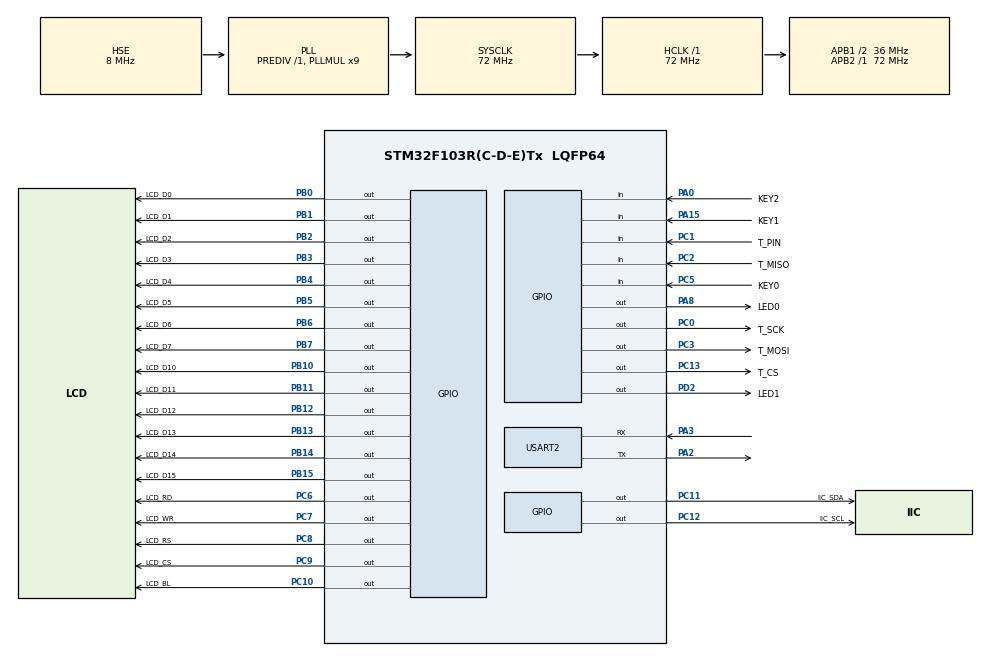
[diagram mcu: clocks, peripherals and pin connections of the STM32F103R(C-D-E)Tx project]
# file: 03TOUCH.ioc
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Mcu.Family=STM32F1
Mcu.Name=STM32F103R(C-D-E)Tx
Mcu.Package=LQFP64
NVIC.PriorityGroup=NVIC_PRIORITYGROUP_4
NVIC.USART2_IRQn=true\:0\:0\:false\:false\:true\:true\:true
PA0-WKUP.GPIO_Label=KEY2
PA0-WKUP.GPIO_PuPd=GPIO_PULLDOWN
PA0-WKUP.Signal=GPIO_Input
PA13.Mode=Serial_Wire
PA13.Signal=SYS_JTMS-SWDIO
PA14.Mode=Serial_Wire
PA14.Signal=SYS_JTCK-SWCLK
PA15.GPIO_Label=KEY1
PA15.GPIO_Mode=GPIO_MODE_INPUT
PA15.GPIO_PuPd=GPIO_PULLUP
PA15.Signal=GPIO_Input
PA2.Mode=Asynchronous
PA2.Signal=USART2_TX
PA3.Mode=Asynchronous
PA3.Signal=USART2_RX
PA8.GPIO_Label=LED0
PA8.GPIO_ModeDefaultOutputPP=GPIO_MODE_OUTPUT_PP
PA8.GPIO_PuPd=GPIO_PULLUP
PA8.GPIO_Speed=GPIO_SPEED_FREQ_HIGH
PA8.PinState=GPIO_PIN_SET
PA8.Signal=GPIO_Output
PB0.GPIO_Label=LCD_D0
PB0.GPIO_ModeDefaultOutputPP=GPIO_MODE_OUTPUT_PP
PB0.GPIO_PuPd=GPIO_PULLUP
PB0.GPIO_Speed=GPIO_SPEED_FREQ_HIGH
PB0.Signal=GPIO_Output
PB1.GPIO_Label=LCD_D1
PB1.GPIO_ModeDefaultOutputPP=GPIO_MODE_OUTPUT_PP
PB1.GPIO_PuPd=GPIO_PULLUP
PB1.GPIO_Speed=GPIO_SPEED_FREQ_HIGH
PB1.Signal=GPIO_Output
PB10.GPIO_Label=LCD_D10
PB10.GPIO_ModeDefaultOutputPP=GPIO_MODE_OUTPUT_PP
PB10.GPIO_PuPd=GPIO_PULLUP
PB10.GPIO_Speed=GPIO_SPEED_FREQ_HIGH
PB10.Signal=GPIO_Output
PB11.GPIO_Label=LCD_D11
PB11.GPIO_ModeDefaultOutputPP=GPIO_MODE_OUTPUT_PP
PB11.GPIO_PuPd=GPIO_PULLUP
PB11.GPIO_Speed=GPIO_SPEED_FREQ_HIGH
PB11.Signal=GPIO_Output
PB12.GPIO_Label=LCD_D12
PB12.GPIO_ModeDefaultOutputPP=GPIO_MODE_OUTPUT_PP
PB12.GPIO_PuPd=GPIO_PULLUP
PB12.GPIO_Speed=GPIO_SPEED_FREQ_HIGH
PB12.Signal=GPIO_Output
PB13.GPIO_Label=LCD_D13
PB13.GPIO_ModeDefaultOutputPP=GPIO_MODE_OUTPUT_PP
PB13.GPIO_PuPd=GPIO_PULLUP
PB13.GPIO_Speed=GPIO_SPEED_FREQ_HIGH
PB13.Signal=GPIO_Output
PB14.GPIO_Label=LCD_D14
PB14.GPIO_ModeDefaultOutputPP=GPIO_MODE_OUTPUT_PP
PB14.GPIO_PuPd=GPIO_PULLUP
PB14.GPIO_Speed=GPIO_SPEED_FREQ_HIGH
PB14.Signal=GPIO_Output
PB15.GPIO_Label=LCD_D15
PB15.GPIO_ModeDefaultOutputPP=GPIO_MODE_OUTPUT_PP
PB15.GPIO_PuPd=GPIO_PULLUP
PB15.GPIO_Speed=GPIO_SPEED_FREQ_HIGH
PB15.Signal=GPIO_Output
PB2.GPIO_Label=LCD_D2
PB2.GPIO_ModeDefaultOutputPP=GPIO_MODE_OUTPUT_PP
PB2.GPIO_PuPd=GPIO_PULLUP
PB2.GPIO_Speed=GPIO_SPEED_FREQ_HIGH
PB2.Signal=GPIO_Output
PB3.GPIO_Label=LCD_D3
PB3.GPIO_ModeDefaultOutputPP=GPIO_MODE_OUTPUT_PP
PB3.GPIO_PuPd=GPIO_PULLUP
PB3.GPIO_Speed=GPIO_SPEED_FREQ_HIGH
PB3.Signal=GPIO_Output
PB4.GPIO_Label=LCD_D4
PB4.GPIO_ModeDefaultOutputPP=GPIO_MODE_OUTPUT_PP
PB4.GPIO_PuPd=GPIO_PULLUP
PB4.GPIO_Speed=GPIO_SPEED_FREQ_HIGH
PB4.Signal=GPIO_Output
PB5.GPIO_Label=LCD_D5
PB5.GPIO_ModeDefaultOutputPP=GPIO_MODE_OUTPUT_PP
PB5.GPIO_PuPd=GPIO_PULLUP
PB5.GPIO_Speed=GPIO_SPEED_FREQ_HIGH
PB5.Signal=GPIO_Output
PB6.GPIO_Label=LCD_D6
PB6.GPIO_ModeDefaultOutputPP=GPIO_MODE_OUTPUT_PP
PB6.GPIO_PuPd=GPIO_PULLUP
PB6.GPIO_Speed=GPIO_SPEED_FREQ_HIGH
PB6.Signal=GPIO_Output
PB7.GPIO_Label=LCD_D7
PB7.GPIO_ModeDefaultOutputPP=GPIO_MODE_OUTPUT_PP
PB7.GPIO_PuPd=GPIO_PULLUP
PB7.GPIO_Speed=GPIO_SPEED_FREQ_HIGH
PB7.Signal=GPIO_Output
PC0.GPIO_Label=T_SCK
PC0.GPIO_ModeDefaultOutputPP=GPIO_MODE_OUTPUT_PP
PC0.GPIO_PuPd=GPIO_PULLUP
PC0.GPIO_Speed=GPIO_SPEED_FREQ_HIGH
PC0.Signal=GPIO_Output
PC1.GPIO_Label=T_PIN
PC1.GPIO_PuPd=GPIO_PULLUP
PC1.Signal=GPIO_Input
PC10.GPIO_Label=LCD_BL
PC10.GPIO_ModeDefaultOutputPP=GPIO_MODE_OUTPUT_PP
PC10.GPIO_PuPd=GPIO_PULLUP
PC10.GPIO_Speed=GPIO_SPEED_FREQ_HIGH
PC10.Signal=GPIO_Output
PC11.GPIO_Label=IIC_SDA
PC11.GPIO_ModeDefaultOutputPP=GPIO_MODE_OUTPUT_PP
PC11.GPIO_PuPd=GPIO_PULLUP
PC11.GPIO_Speed=GPIO_SPEED_FREQ_HIGH
PC11.Signal=GPIO_Output
PC12.GPIO_Label=IIC_SCL
PC12.GPIO_ModeDefaultOutputPP=GPIO_MODE_OUTPUT_PP
PC12.GPIO_PuPd=GPIO_PULLUP
PC12.GPIO_Speed=GPIO_SPEED_FREQ_HIGH
PC12.Signal=GPIO_Output
PC13-TAMPER-RTC.GPIO_Label=T_CS
PC13-TAMPER-RTC.GPIO_ModeDefaultOutputPP=GPIO_MODE_OUTPUT_PP
PC13-TAMPER-RTC.GPIO_PuPd=GPIO_PULLUP
PC13-TAMPER-RTC.GPIO_Speed=GPIO_SPEED_FREQ_HIGH
PC13-TAMPER-RTC.Signal=GPIO_Output
PC2.GPIO_Label=T_MISO
PC2.GPIO_PuPd=GPIO_PULLUP
PC2.Signal=GPIO_Input
PC3.GPIO_Label=T_MOSI
PC3.GPIO_ModeDefaultOutputPP=GPIO_MODE_OUTPUT_PP
PC3.GPIO_PuPd=GPIO_PULLUP
PC3.GPIO_Speed=GPIO_SPEED_FREQ_HIGH
PC3.Signal=GPIO_Output
PC5.GPIO_Label=KEY0
PC5.GPIO_Mode=GPIO_MODE_INPUT
PC5.GPIO_PuPd=GPIO_PULLUP
PC5.Signal=GPIO_Input
PC6.GPIO_Label=LCD_RD
PC6.GPIO_ModeDefaultOutputPP=GPIO_MODE_OUTPUT_PP
PC6.GPIO_PuPd=GPIO_PULLUP
PC6.GPIO_Speed=GPIO_SPEED_FREQ_HIGH
PC6.Signal=GPIO_Output
PC7.GPIO_Label=LCD_WR
PC7.GPIO_ModeDefaultOutputPP=GPIO_MODE_OUTPUT_PP
PC7.GPIO_PuPd=GPIO_PULLUP
PC7.GPIO_Speed=GPIO_SPEED_FREQ_HIGH
PC7.Signal=GPIO_Output
PC8.GPIO_Label=LCD_RS
PC8.GPIO_ModeDefaultOutputPP=GPIO_MODE_OUTPUT_PP
PC8.GPIO_PuPd=GPIO_PULLUP
PC8.GPIO_Speed=GPIO_SPEED_FREQ_HIGH
PC8.Signal=GPIO_Output
PC9.GPIO_Label=LCD_CS
PC9.GPIO_ModeDefaultOutputPP=GPIO_MODE_OUTPUT_PP
PC9.GPIO_PuPd=GPIO_PULLUP
PC9.GPIO_Speed=GPIO_SPEED_FREQ_HIGH
PC9.Signal=GPIO_Output
PD0-OSC_IN.Mode=HSE-External-Oscillator
PD0-OSC_IN.Signal=RCC_OSC_IN
PD1-OSC_OUT.Mode=HSE-External-Oscillator
PD1-OSC_OUT.Signal=RCC_OSC_OUT
PD2.GPIO_Label=LED1
PD2.GPIO_ModeDefaultOutputPP=GPIO_MODE_OUTPUT_PP
PD2.GPIO_PuPd=GPIO_PULLUP
PD2.GPIO_Speed=GPIO_SPEED_FREQ_HIGH
PD2.PinState=GPIO_PIN_SET
PD2.Signal=GPIO_Output
ProjectManager.HeapSize=0x200
ProjectManager.StackSize=0x400
ProjectManager.TargetToolchain=MDK-ARM V5.32
RCC.AHBFreq_Value=72000000
RCC.APB1CLKDivider=RCC_HCLK_DIV2
RCC.APB1Freq_Value=36000000
RCC.APB1TimFreq_Value=72000000
RCC.APB2Freq_Value=72000000
RCC.APB2TimFreq_Value=72000000
RCC.HCLKFreq_Value=72000000
RCC.PLLMUL=RCC_PLL_MUL9
RCC.PLLSourceVirtual=RCC_PLLSOURCE_HSE
RCC.SYSCLKFreq_VALUE=72000000
RCC.SYSCLKSource=RCC_SYSCLKSOURCE_PLLCLK
RCC.USBFreq_Value=72000000
USART2.VirtualMode=VM_ASYNC
board=custom

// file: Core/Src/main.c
/* USER CODE BEGIN Header */
/**
  ******************************************************************************
  * @file           : main.c
  * @brief          : Main program body
  ******************************************************************************
  * @attention
  *
  * <h2><center>&copy; Copyright (c) 2021 STMicroelectronics.
  * All rights reserved.</center></h2>
  *
  * This software component is licensed by ST under BSD 3-Clause license,
  * the "License"; You may not use this file except in compliance with the
  * License. You may obtain a copy of the License at:
  *                        opensource.org/licenses/BSD-3-Clause
  *
  ******************************************************************************
  */
/* USER CODE END Header */
#include "main.h"
#include "usart.h"
#include "gpio.h"

/* USER CODE BEGIN Includes */
#include "base.h"
#include "lcd.h"
#include "24cxx.h"
#include "touch.h"
#include "stdio.h"
#include "stack.h"
#include "stdlib.h"
#include "string.h"
/* USER CODE END Includes */

/* USER CODE BEGIN PD */
#define LENGTH 1024			//缓冲区大小
/* USER CODE END PD */

/* USER CODE BEGIN PV */
char RxBuffer[LENGTH];		//接收缓冲区
uint8_t RxFlag=0;			//接收标志变量
/* USER CODE END PV */

void SystemClock_Config(void);
/* USER CODE BEGIN PFP */
void Usart_info(void);
void UI_1(void);	//UI界面1
void UI_2(void);	//UI界面2
void Key_staset(u16 x,u16 y,u8 keyx,u8 sta);
u8 Get_key(u16 x,u16 y);
void Key_staset2(u16 x,u16 y,u8 keyx,u8 sta);
u8 Get_key2(u16 x,u16 y);
char DataChange(int a,int b);
char *DataHandle(char *e);
void UI_1_Funiction(void);
void UI_2_Funiction(void);
//清空屏幕并在右上角显??"RST"
void Load_Drow_Dialog(void)
{
	LCD_Clear(WHITE);//清屏
 	POINT_COLOR=BLUE;//设置字体为蓝??
	LCD_ShowString(lcddev.width-24,0,200,16,16,(u8 *)"RST");//显示清屏区域
	POINT_COLOR=RED;//设置画笔蓝色
}
////////////////////////////////////////////////////////////////////////////////
//电容触摸屏专有部??
//画水平线
//x0,y0:坐标
//len:线长??
//color:颜色
void gui_draw_hline(u16 x0,u16 y0,u16 len,u16 color)
{
	if(len==0)return;
	LCD_Fill(x0,y0,x0+len-1,y0,color);
}
//画实心圆
//x0,y0:坐标
//r:半径
//color:颜色
void gui_fill_circle(u16 x0,u16 y0,u16 r,u16 color)
{
	u32 i;
	u32 imax = ((u32)r*707)/1000+1;
	u32 sqmax = (u32)r*(u32)r+(u32)r/2;
	u32 x=r;
	gui_draw_hline(x0-r,y0,2*r,color);
	for (i=1;i<=imax;i++)
	{
		if ((i*i+x*x)>sqmax)// draw lines from outside
		{
 			if (x>imax)
			{
				gui_draw_hline (x0-i+1,y0+x,2*(i-1),color);
				gui_draw_hline (x0-i+1,y0-x,2*(i-1),color);
			}
			x--;
		}
		// draw lines from inside (center)
		gui_draw_hline(x0-x,y0+i,2*x,color);
		gui_draw_hline(x0-x,y0-i,2*x,color);
	}
}
//两个数之差的绝对??
//x1,x2：需取差值的两个??
//返回值：|x1-x2|
u16 my_abs(u16 x1,u16 x2)
{
	if(x1>x2)return x1-x2;
	else return x2-x1;
}
//画一条粗??
//(x1,y1),(x2,y2):线条的起始坐??
//size：线条的粗细程度
//color：线条的颜色
void lcd_draw_bline(u16 x1, u16 y1, u16 x2, u16 y2,u8 size,u16 color)
{
	u16 t;
	int xerr=0,yerr=0,delta_x,delta_y,distance;
	int incx,incy,uRow,uCol;
	if(x1<size|| x2<size||y1<size|| y2<size)return;
	delta_x=x2-x1; //计算坐标增量
	delta_y=y2-y1;
	uRow=x1;
	uCol=y1;
	if(delta_x>0)incx=1; //设置单步方向
	else if(delta_x==0)incx=0;//垂直??
	else {incx=-1;delta_x=-delta_x;}
	if(delta_y>0)incy=1;
	else if(delta_y==0)incy=0;//水平??
	else{incy=-1;delta_y=-delta_y;}
	if( delta_x>delta_y)distance=delta_x; //选取基本增量坐标??
	else distance=delta_y;
	for(t=0;t<=distance+1;t++ )//画线输出
	{
		gui_fill_circle(uRow,uCol,size,color);//画点
		xerr+=delta_x ;
		yerr+=delta_y ;
		if(xerr>distance)
		{
			xerr-=distance;
			uRow+=incx;
		}
		if(yerr>distance)
		{
			yerr-=distance;
			uCol+=incy;
		}
	}
}
////////////////////////////////////////////////////////////////////////////////
//5个触控点的颜??(电容触摸屏用)
const u16 POINT_COLOR_TBL[5]={RED,GREEN,BLUE,BROWN,GRED};
//电阻触摸屏测试函??
void rtp_test(void)
{
	u8 key;
	u8 i=0;
	while(1)
	{
	 	key=KEY_Scan(0);
		tp_dev.scan(0);
		if(tp_dev.sta&TP_PRES_DOWN)			//触摸屏被按下
		{
		 	if(tp_dev.x[0]<lcddev.width&&tp_dev.y[0]<lcddev.height)
			{
				if(tp_dev.x[0]>(lcddev.width-24)&&tp_dev.y[0]<16)Load_Drow_Dialog();//清除
				else TP_Draw_Big_Point(tp_dev.x[0],tp_dev.y[0],RED);		//画图
			}
		}else delay_ms(10);	//没有按键按下的时??
		if(key==KEY0_PRES)	//KEY0按下,则执行校准程??
		{
			LCD_Clear(WHITE);	//清屏
		    TP_Adjust();  		//屏幕校准
			TP_Save_Adjdata();
			Load_Drow_Dialog();
		}
		i++;
		if(i%20==0)LED0_T;
	}
}
//电容触摸屏测试函??
void ctp_test(void)
{
	u8 t=0;
	u8 i=0;
 	u16 lastpos[5][2];		//??后一次的数据
	while(1)
	{
		tp_dev.scan(0);
		for(t=0;t<5;t++)
		{
			if((tp_dev.sta)&(1<<t))
			{
                //printf("X坐标:%d,Y坐标:%d\r\n",tp_dev.x[0],tp_dev.y[0]);
				if(tp_dev.x[t]<lcddev.width&&tp_dev.y[t]<lcddev.height)
				{
					if(lastpos[t][0]==0XFFFF)
					{
						lastpos[t][0] = tp_dev.x[t];
						lastpos[t][1] = tp_dev.y[t];
					}

					lcd_draw_bline(lastpos[t][0],lastpos[t][1],tp_dev.x[t],tp_dev.y[t],2,POINT_COLOR_TBL[t]);//画线
					lastpos[t][0]=tp_dev.x[t];
					lastpos[t][1]=tp_dev.y[t];
					if(tp_dev.x[t]>(lcddev.width-24)&&tp_dev.y[t]<20)
					{
						Load_Drow_Dialog();//清除
					}
				}
			}else lastpos[t][0]=0XFFFF;
		}

		delay_ms(5);i++;
		if(i%20==0)LED0_T;
	}
}
/* USER CODE END PFP */

int main(void)
{

  /* MCU Configuration--------------------------------------------------------*/

  /* Reset of all peripherals, Initializes the Flash interface and the Systick. */
  HAL_Init();

  /* Configure the system clock */
  SystemClock_Config();

  /* Initialize all configured peripherals */
  MX_GPIO_Init();
  MX_USART2_UART_Init();
  /* USER CODE BEGIN 2 */
  delay_init(72);
  LCD_Init();
  tp_dev.init();				   		//触摸屏初始化

  /* USER CODE END 2 */

  /* Infinite loop */
  /* USER CODE BEGIN WHILE */
	Usart_info();
	UI_1_Funiction();
}

void SystemClock_Config(void)
{
  RCC_OscInitTypeDef RCC_OscInitStruct = {0};
  RCC_ClkInitTypeDef RCC_ClkInitStruct = {0};

  /** Initializes the RCC Oscillators according to the specified parameters
  * in the RCC_OscInitTypeDef structure.
  */
  RCC_OscInitStruct.OscillatorType = RCC_OSCILLATORTYPE_HSE;
  RCC_OscInitStruct.HSEState = RCC_HSE_ON;
  RCC_OscInitStruct.HSEPredivValue = RCC_HSE_PREDIV_DIV1;
  RCC_OscInitStruct.HSIState = RCC_HSI_ON;
  RCC_OscInitStruct.PLL.PLLState = RCC_PLL_ON;
  RCC_OscInitStruct.PLL.PLLSource = RCC_PLLSOURCE_HSE;
  RCC_OscInitStruct.PLL.PLLMUL = RCC_PLL_MUL9;
  if (HAL_RCC_OscConfig(&RCC_OscInitStruct) != HAL_OK)
  {
    Error_Handler();
  }
  /** Initializes the CPU, AHB and APB buses clocks
  */
  RCC_ClkInitStruct.ClockType = RCC_CLOCKTYPE_HCLK|RCC_CLOCKTYPE_SYSCLK
                              |RCC_CLOCKTYPE_PCLK1|RCC_CLOCKTYPE_PCLK2;
  RCC_ClkInitStruct.SYSCLKSource = RCC_SYSCLKSOURCE_PLLCLK;
  RCC_ClkInitStruct.AHBCLKDivider = RCC_SYSCLK_DIV1;
  RCC_ClkInitStruct.APB1CLKDivider = RCC_HCLK_DIV2;
  RCC_ClkInitStruct.APB2CLKDivider = RCC_HCLK_DIV1;

  if (HAL_RCC_ClockConfig(&RCC_ClkInitStruct, FLASH_LATENCY_2) != HAL_OK)
  {
    Error_Handler();
  }
}

/* USER CODE BEGIN 4 */
//串口输出信息
void Usart_info(void)
{
  printf("\t[基本要求]info:王志涵\r\n");
  printf("\t[基本要求]info:202021111112\r\n");
  printf("\t[基本要求]info:Π=3.1415926\r\n");
  printf("\t[串口操作界面1]operation:q->LED0\r\n");
  printf("\t[串口操作界面1]operation:w->LED1\r\n");
  printf("\t[串口操作界面1]operation:e->HouseRaceLamp\r\n");
  printf("\t[串口操作界面1]operation:r->BreathLamp\r\n");
  printf("\t[串口操作界面1]operation:b->界面切换\r\n");
  printf("\t[串口操作界面2]operation:c->清零/开始\r\n");
  printf("\t[串口操作界面2]operatiow:d->退格\r\n");
  printf("\t[串口操作界面2]operation:a->界面切换\r\n");
}
//串口接收中断回调函数
 void HAL_UART_RxCpltCallback(UART_HandleTypeDef *huart)
{
	if(huart->Instance==huart2.Instance)
	{
		RxFlag=1;		//置位接收完成标志
		HAL_UART_Receive_IT(&huart2,(uint8_t*)RxBuffer,1);
	}
}

//一级菜单界面
void UI_1(void)
{
	POINT_COLOR=BLACK;
	LCD_Show_CH_Font24(80,15,0);
	LCD_Show_CH_Font24(105,15,1);
	LCD_Show_CH_Font24(130,15,2);
	LCD_ShowString(30,40,200,24,24,"  Wang ZhiHan");
	LCD_ShowString(30,70,200,24,24," 202021111112");
	LCD_ShowString(30,100,200,24,24,"  3.1415926");
	LCD_DrawRectangle(0,0,20,20);
	LCD_DrawRectangle(0,160,120,240);		//LED0
	LCD_DrawRectangle(0,240,120,320);		//LED1
	LCD_DrawRectangle(120,160,240,240);		//HouseRaceLamp
	LCD_DrawRectangle(120,240,240,320);		//BreathLamp
	POINT_COLOR=RED;
	LCD_ShowString(35,190,120,80,24,"LED0");
	LCD_ShowString(155,190,120,80,24,"LED1");
	LCD_ShowString(5,255,100,70,24,"HouseRaceLamp");
	LCD_ShowString(135,255,70,70,24,"BreathLamp");
}

//二级菜单界面
void UI_2(void)
{
	POINT_COLOR=BLACK;
	LCD_DrawRectangle(0,0,20,20);
	LCD_DrawRectangle(0,20,240,320);
	LCD_DrawRectangle(0,120,60,160);
	LCD_DrawRectangle(60,120,120,160);
	LCD_DrawRectangle(120,120,180,160);
	LCD_DrawRectangle(180,120,240,160);
	LCD_DrawRectangle(0,160,60,200);
	LCD_DrawRectangle(0,200,60,240);
	LCD_DrawRectangle(0,240,60,280);
	LCD_DrawRectangle(0,280,60,320);
	LCD_DrawRectangle(60,160,120,200);
	LCD_DrawRectangle(60,200,120,240);
	LCD_DrawRectangle(60,240,120,280);
	LCD_DrawRectangle(60,280,120,320);
	LCD_DrawRectangle(120,160,180,200);
	LCD_DrawRectangle(120,200,180,240);
	LCD_DrawRectangle(120,240,180,280);
	LCD_DrawRectangle(120,280,180,320);
	LCD_DrawRectangle(180,160,240,200);
	LCD_DrawRectangle(180,200,240,240);
	LCD_DrawRectangle(180,240,240,280);
	LCD_DrawRectangle(180,280,240,320);
	POINT_COLOR=RED;
	LCD_ShowString(20,130,60,40,24,"C");
	LCD_ShowString(20,170,60,40,24,"7");
	LCD_ShowString(20,210,60,40,24,"4");
	LCD_ShowString(20,250,60,40,24,"1");
	LCD_ShowString(15,290,60,40,24,".");
	LCD_ShowString(80,130,60,40,24,"/");
	LCD_ShowString(80,170,60,40,24,"8");
	LCD_ShowString(80,210,60,40,24,"5");
	LCD_ShowString(80,250,60,40,24,"2");
	LCD_ShowString(80,290,60,40,24,"0");
	LCD_ShowString(140,130,60,40,24,"*");
	LCD_ShowString(140,170,60,40,24,"9");
	LCD_ShowString(140,210,60,40,24,"6");
	LCD_ShowString(140,250,60,40,24,"3");
	LCD_ShowString(140,290,60,40,24,"(");
	LCD_ShowString(190,130,60,40,24,"del");
	LCD_ShowString(200,170,60,40,24,"-");
	LCD_ShowString(200,210,60,40,24,"+");
	LCD_ShowString(200,250,60,40,24,"=");
	LCD_ShowString(200,290,60,40,24,")");

}
//触摸屏按键捕获状态函数
void Key_staset(u16 x,u16 y,u8 keyx,u8 sta)
{
	u16 i=keyx/2,j=keyx%2;		//j:横轴|i:竖轴
	if(keyx>5) return;
	if(sta&&keyx!=5)
		LCD_Fill(x+j*120+1,y+i*80+1,x+j*120+118,y+i*80+78,RED);	//当区域被按下区域被填充为红色
	else if(keyx!=5)
		LCD_Fill(x+j*120+1,y+i*80+1,x+j*120+118,y+i*80+78,WHITE);

	if(sta&&keyx==5)					//菜单切换捕获
		LCD_Fill(1,1,19,19,RED);
	else if(keyx==5)
		LCD_Fill(1,1,19,19,WHITE);

	if(keyx!=6)		//区域被填充后重新显示
	{
		LCD_ShowString(35,190,120,80,24,"LED0");
		LCD_ShowString(155,190,120,80,24,"LED1");
		LCD_ShowString(5,255,100,70,24,"HouseRaceLamp");
		LCD_ShowString(135,255,70,70,24,"BreathLamp");
	}
}

//触摸屏按键获取函数
u8 Get_key(u16 x,u16 y)
{
	u16 i,j;
	static u8 Key_x=0;
	u8 key=0;
	HAL_UART_Receive_IT(&huart2,(uint8_t*)RxBuffer,1);
	if(RxFlag==1)
	{
		if(RxBuffer[0]=='b')
		{
			key=5;
			printf("\t[发挥部分]info:UI1->UI2\r\n");
			RxFlag=0;
		}
		else if(RxBuffer[0]=='q')
		{
			key=1;
			RxFlag=0;
		}
		else if(RxBuffer[0]=='w')
		{
			key=2;
			RxFlag=0;
		}
		else if(RxBuffer[0]=='e')
		{
			key=3;
			RxFlag=0;
		}
		else if(RxBuffer[0]=='r')
		{
			key=4;
			RxFlag=0;
		}

	}

	tp_dev.scan(0);		//触摸屏扫描
	if(tp_dev.sta&TP_PRES_DOWN)		//触摸屏被按下
	{
		if(tp_dev.x[0]<20&&tp_dev.x>0&&tp_dev.y[0]<20&&tp_dev.y[0]>0)		//菜单切换扫描
		{
			key=5;
			Key_staset(x,y,key,1);
			HAL_Delay(100);
			Key_staset(x,y,key,0);
		}

		for(i=0;i<2;i++)
		{
			for(j=0;j<2;j++)
			{
				if(tp_dev.x[0]<(x+j*120+120)&&tp_dev.x[0]>(x+j*120)&&tp_dev.y[0]<(y+i*80+80)&&tp_dev.y[0]>(y+i*80))
				{
					key=i*2+j+1;		//i代表行，每一行变化需要两个值j代表列，每一列变化只需要变化一个值
					break;
				}
			}
			if(key)
			{
				if(Key_x==key) key=0;
				else
				{
					Key_staset(x,y,Key_x-1,0);
					Key_x=key;
					Key_staset(x,y,Key_x-1,1);
				}
				break;
			}
		}
	}
	else if(Key_x)		//每次从0开始，不记录上次的状态
	{
		Key_staset(x,y,Key_x-1,0);
		Key_x=0;
	}
	return key;
}

//按键捕获状态函数2
void Key_staset2(u16 x,u16 y,u8 keyx,u8 sta)
{
	u16 i=keyx/4,j=keyx%4;
	if(keyx>21) return;

	if(sta&&keyx!=21)
		LCD_Fill(x+j*60+1,y+i*40+1,x+j*60+58,y+i*40+38,RED);
	else if(keyx!=21)
		LCD_Fill(x+j*60+1,y+i*40+1,x+j*60+58,y+i*40+38,WHITE);

	if(sta&&keyx==21)			//菜单切换捕获
		LCD_Fill(1,1,19,19,RED);
	else if(sta==0&&keyx==21)
		LCD_Fill(1,1,19,19,WHITE);

	if(keyx!=22)
	{
	LCD_ShowString(20,130,60,40,24,"C");
	LCD_ShowString(20,170,60,40,24,"7");
	LCD_ShowString(20,210,60,40,24,"4");
	LCD_ShowString(20,250,60,40,24,"1");
	LCD_ShowString(15,290,60,40,24,".");
	LCD_ShowString(80,130,60,40,24,"/");
	LCD_ShowString(80,170,60,40,24,"8");
	LCD_ShowString(80,210,60,40,24,"5");
	LCD_ShowString(80,250,60,40,24,"2");
	LCD_ShowString(80,290,60,40,24,"0");
	LCD_ShowString(140,130,60,40,24,"*");
	LCD_ShowString(140,170,60,40,24,"9");
	LCD_ShowString(140,210,60,40,24,"6");
	LCD_ShowString(140,250,60,40,24,"3");
	LCD_ShowString(140,290,60,40,24,"(");
	LCD_ShowString(190,130,60,40,24,"del");
	LCD_ShowString(200,170,60,40,24,"-");
	LCD_ShowString(200,210,60,40,24,"+");
	LCD_ShowString(200,250,60,40,24,"=");
	LCD_ShowString(200,290,60,40,24,")");
	}
}

//触摸屏按键获取函数2
u8 Get_key2(u16 x,u16 y)
{
	u16 i,j;
	static u8 Key_x=0;
	u8 key=0;
	HAL_UART_Receive_IT(&huart2,(uint8_t*)RxBuffer,1);
	tp_dev.scan(0);
	if(RxFlag==1)
	{
		if(RxBuffer[0]=='1')
		{
			key=13;
			RxFlag=0;
		}
		else if(RxBuffer[0]=='2')
		{
			key=14;
			RxFlag=0;
		}
		else if(RxBuffer[0]=='3')
		{
			key=15;

			RxFlag=0;
		}
		else if(RxBuffer[0]=='4')
		{
			key=9;
			RxFlag=0;
		}
		else if(RxBuffer[0]=='5')
		{
			key=10;
			RxFlag=0;
		}
		else if(RxBuffer[0]=='6')
		{
			key=9;
			RxFlag=0;
		}
		else if(RxBuffer[0]=='7')
		{
			key=5;
			RxFlag=0;
		}
		else if(RxBuffer[0]=='8')
		{
			key=6;
			RxFlag=0;
		}
		else if(RxBuffer[0]=='9')
		{
			key=7;
			RxFlag=0;
		}
		else if(RxBuffer[0]=='0')
		{
			key=18;
			RxFlag=0;
		}
		else if(RxBuffer[0]=='+')
		{
			key=12;
			RxFlag=0;
		}
		else if(RxBuffer[0]=='-')
		{
			key=8;
			RxFlag=0;
		}
		else if(RxBuffer[0]=='*')
		{
			key=3;
			RxFlag=0;
		}
		else if(RxBuffer[0]=='/')
		{
			key=2;
			RxFlag=0;
		}
		else if(RxBuffer[0]=='d')
		{
			key=4;
			RxFlag=0;
		}
		else if(RxBuffer[0]=='(')
		{
			key=19;
			RxFlag=0;
		}
		else if(RxBuffer[0]==')')
		{
			key=20;
			RxFlag=0;
		}
		else if(RxBuffer[0]=='=')
		{
			key=16;
			RxFlag=0;
		}
		else if(RxBuffer[0]=='c')
		{
			key=1;
			printf("\n\t[计算器]info:清零/开始\r\n");
			RxFlag=0;
		}
		else if(RxBuffer[0]=='a')
		{
			key=21;
			printf("\n\t[发挥部分]info:UI2->UI1\r\n");
			RxFlag=0;
		}
		else if(RxBuffer[0]=='.')
		{
			key=17;
			printf(".");
			RxFlag=0;
		}
	}
	if(tp_dev.sta&TP_PRES_DOWN)
	{
		if(tp_dev.x[0]<20&&tp_dev.x>0&&tp_dev.y[0]<20&&tp_dev.y[0]>0)		//菜单切换扫描
		{
			key=21;
			Key_staset2(x,y,key,1);
			HAL_Delay(100);
			Key_staset2(x,y,key,0);
		}

		for(i=0;i<5;i++)
		{
			for(j=0;j<4;j++)
			{
				if(tp_dev.x[0]<(x+j*60+60)&&tp_dev.x[0]>(x+j*60)&&tp_dev.y[0]<(y+i*40+40)&&tp_dev.y[0]>(y+i*40))
				{
					key=i*4+j+1;
					break;
				}
			}
			if(key)
			{
				if(Key_x==key) key=0;
				else
				{
					Key_staset2(x,y,Key_x-1,0);
					Key_x=key;
					Key_staset2(x,y,Key_x-1,1);
				}
				break;
			}
		}
	}
	else if(Key_x)
	{
		Key_staset2(x,y,Key_x-1,0);
		Key_x=0;
	}
	return key;
}

//UI界面1功能实现
void UI_1_Funiction(void)
{
	LCD_Clear(WHITE);
	UI_1();
	while(1)
	{
		u8 key1;
		key1=Get_key(0,160);
	if(key1==1)
	{
		printf("\t[基本要求]info:LED0 ON\r\n");
		while(1)
		{
			LED0_ON;
			key1=Get_key(0,160);
			if(key1==1)
			{
				LED0_OFF;
				printf("\t[基本要求]info:LED0 OFF\r\n");
				break;
			}
		}
	}
	else if(key1==2)
	{
		printf("\t[基本要求]info:LED1 ON\r\n");
		while(1)
		{
			LED1_ON;
			key1=Get_key(0,160);
			if(key1==2)
			{
				LED1_OFF;
				printf("\t[基本要求]info:LED1 OFF\r\n");
				break;
			}
		}
	}
	else if(key1==3)
	{
		printf("\t[基本要求]info:跑马灯 ON\r\n");
		while(1)
		{
			LED0_ON;		//跑马灯
			LED1_OFF;
			delay_ms(50);
			key1=Get_key(0,160);
			if(key1==3)
			{
				LED0_OFF;
				LED1_OFF;
				printf("\t[基本要求]info:跑马灯 OFF\r\n");
				break;
			}
			LED0_OFF;
			LED1_ON;
			delay_ms(50);
			key1=Get_key(0,160);
			if(key1==3)
			{
				LED0_OFF;
				LED1_OFF;
				printf("\t[基本要求]info:跑马灯 OFF\r\n");
				break;
			}
		}
	}
	else if(key1==4)
	{
		int a,b=1001;
		delay_ms(200);
		printf("\t[基本要求]info:呼吸灯 ON\r\n");
		while(1)
		{
			for(a=1;a<b;a++)
			{
				LED0_OFF;
				LED1_OFF;
				delay_us(a);
				LED0_ON;
				LED1_ON;
				delay_us(b-a);
				key1=Get_key(0,160);
				if(key1==4)	break;
			}
			if(key1==4)		//跳出呼吸灯，熄灭
			{
				LED0_OFF;
				LED1_OFF;
				printf("\t[基本要求]info:呼吸灯 OFF\r\n");
				HAL_Delay(200);
				break;
			}
			for(a=b;a>0;a--)
			{
				LED0_OFF;
				LED1_OFF;
				delay_us(a);
				LED0_ON;
				LED1_ON;
				delay_us(b-a+1);
				key1=Get_key(0,160);
				if(key1==4)	 break;
			}
			if(key1==4)		//跳出呼吸灯，熄灭
			{
				LED0_OFF;
				LED1_OFF;
				printf("\t[基本要求]info:呼吸灯 OFF\r\n");
				HAL_Delay(200);
				break;
			}

		}
	}
	else if(key1==5)
		break;
	}
	LCD_Fill(0,0,240,320,WHITE);
	UI_2_Funiction();
}

void UI_2_Funiction(void)
{
  LCD_Clear(WHITE);
  UI_2();
  LCD_ShowString(22,3,220,20,12,"close!");
  while(1)
  {
		u8 key2;
		key2=Get_key2(0,120);
		if(key2==21)
			break;
		else if(key2==1)
		{
			LCD_Fill(0,21,240,119,WHITE);
			char* o=0;
			while(1)
			{
			LCD_ShowString(22,3,220,20,12,"start!");
			char *Expression = (char*)malloc(sizeof(char)*100);
			o = DataHandle(Expression);
			STACKS(o);
			free(Expression);
				break;
			}
			LCD_ShowString(22,3,220,20,12,"close!");
		}

  }
  LCD_Fill(0,0,240,320,WHITE);
  UI_1_Funiction();
}

//处理触屏扫描的返回值，并将其转化为字符
char DataChange(int a,int b)
{
	int Revert=-1;	//Get_key2函数的返回值
	int x,y;
	char Symbol;	//函数的返回值

	x=a;
	y=b;

	while(1)
	{
		Revert=Get_key2(0,120);
		if(Revert>=2&&Revert<=20)
		{
			switch(Revert)		//将扫描函数的返回值转化为对应的字符，同时在屏幕上显示字符
			{
				case 2:Symbol='/';printf("/");LCD_ShowChar(x,y,47,24,0);
					break;
				case 3:Symbol='*';printf("*");LCD_ShowChar(x,y,42,24,0);
					break;
				case 4:Symbol='D';x = x - 20;LCD_ShowChar(x,y,32,24,0);
					break;
				case 5:Symbol='7';printf("7");LCD_ShowChar(x,y,55,24,0);
					break;
				case 6:Symbol='8';printf("8");LCD_ShowChar(x,y,56,24,0);
					break;
				case 7:Symbol='9';printf("9");LCD_ShowChar(x,y,57,24,0);
					break;
				case 8:Symbol='-';printf("-");LCD_ShowChar(x,y,45,24,0);
					break;
				case 9:Symbol='4';printf("4");LCD_ShowChar(x,y,52,24,0);
					break;
				case 10:Symbol='5';printf("5");LCD_ShowChar(x,y,53,24,0);
					break;
				case 11:Symbol='6';printf("6");LCD_ShowChar(x,y,54,24,0);
					break;
				case 12:Symbol='+';printf("+");LCD_ShowChar(x,y,43,24,0);
					break;
				case 13:Symbol='1';printf("1");LCD_ShowChar(x,y,49,24,0);
					break;
				case 14:Symbol='2';printf("2");LCD_ShowChar(x,y,50,24,0);
					break;
				case 15:Symbol='3';printf("3");LCD_ShowChar(x,y,51,24,0);
					break;
				case 16:Symbol='=';printf("=");LCD_ShowChar(x,y,61,24,0);
					break;
				case 17:Symbol='.';printf(".");LCD_ShowChar(x,y,46,24,0);
					break;
				case 18:Symbol='0';printf("0");LCD_ShowChar(x,y,48,24,0);
					break;
				case 19:Symbol='(';printf("(");LCD_ShowChar(x,y,40,24,0);
					break;
				case 20:Symbol=')';printf(")");LCD_ShowChar(x,y,41,24,0);
					break;
			}
			break;
		}
	}
	return Symbol;
}

//处理函数DataChange的返回值，将所有返回值处理成完整的表达式
char *DataHandle(char *e)
{
	int j=0,i;				//j:循环变量
	int a=1,b=30;			//a，b:传递给Datachange函数的值，使其在屏幕上显示字符位置逐位改变，实现光标功能
	char data;				//函数返回值
	char* Expression=e;		//传递过来的动态数组
	for(i=0;i<100;i++)		//开辟空间初始化
	{
		Expression[1]=0;
	}
	while(1)				//用来一直获取DataChange函数返回的值，知道出现‘=’跳出循环
	{
		data=DataChange(a,b);	//获取按键值
		if(data=='=')			//若出现等号跳出死循环，返回最终式子给计算函数
		{
			j++;
			break;
		}
		else if(data!='D'&&data!='=')		//若不是等于或者退位键，则在动态数组中存下按键所代表的字符
		{
			Expression[j]=data;
			j++;
		}

		a=a+20;						//光标后移一位
		if(a>=240&&data!='D')
		{
			a=1;
			b=b+25;
		}
		else if(data=='D')			//如果按下的是删除键，则在动态数组中将数组上一位赋值为'\0'，并将屏幕上的上一个字符删除，光标后移至上一个字符的位置
		{
			data='\0';
			j--;
			Expression[j]=data;
			a=a-40;
			if(a==-20&&b==-10)		//如果上一个字符是上一排最后一个，光标在下一排第一个，则改变光标至上一排最后一个并删匙址
			{
				a=220;
				b=b-25;
				LCD_ShowChar(a,b,32,24,0);
			}
		}
	}
	return Expression;			//返回最后动态数组里的式子给计算函数
}
/* USER CODE END 4 */

void Error_Handler(void)
{
  __disable_irq();
  while (1)
  {
  }
}

/************************ (C) COPYRIGHT STMicroelectronics *****END OF FILE****/
